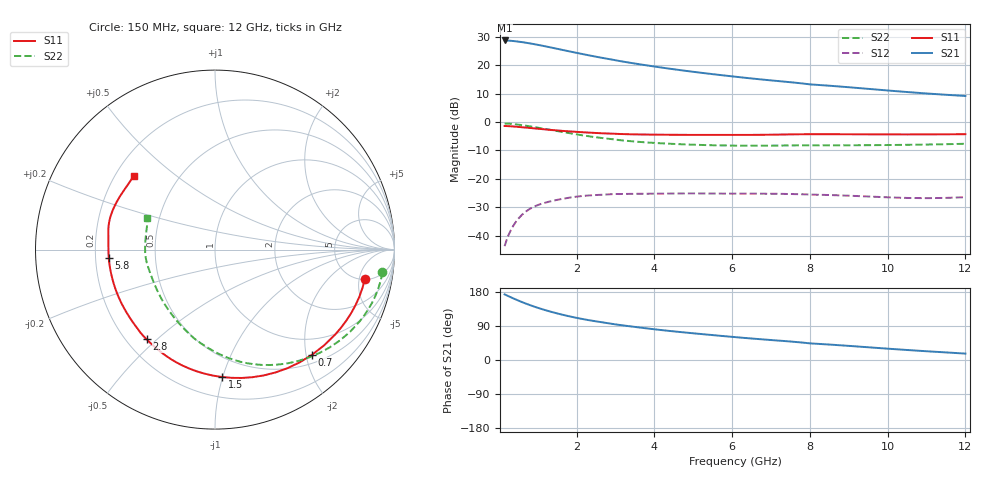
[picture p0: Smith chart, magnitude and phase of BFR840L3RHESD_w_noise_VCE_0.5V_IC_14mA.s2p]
! Infineon Technologies  Discrete & RF Semiconductors
! BFR840L3RHESD
! VCE =  0.5 V,  IC =  14 mA
! Common Emitter S-Parameters:  Jun 2012
# GHz  S  MA  R  50
!  f  S11  S21  S12  S22
! GHz  MAG  ANG  MAG  ANG  MAG  ANG  MAG  ANG
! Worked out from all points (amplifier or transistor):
!   91 points, 150 MHz to 12 GHz, reference 50 ohm
!   highest |S21| = 28.6 dB at 150 MHz (marker M1)
!   |S21| within 3 dB of that: start of sweep to 1.526 GHz
!   unconditionally stable (mu >= 1): 7.445 GHz to end of sweep
!   at 1.3 GHz: K = 0.16, MSG = 27.1 dB, |S12| = -28.0 dB
!   at 4.3 GHz: K = 0.55, MSG = 22.0 dB, |S12| = -25.1 dB
!   at 12 GHz: K = 2.02, MAG = 12.0 dB, |S12| = -26.4 dB
!   lowest NFmin = 0.86 dB at 450 MHz
!   S11 on the Smith chart (normalised r, x): 150 MHz: 5.11, -6.05; 700 MHz: 0.66, -2.11; 1.5 GHz: 0.35, -1.00; 2.8 GHz: 0.28, -0.46; 5.8 GHz: 0.26, -0.04; 12 GHz: 0.28, +0.36
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0.15  0.8506 -11.1  27.05 173.2  0.0066 83.1  0.9416 -7.7
0.25  0.846 -18.1  26.87 168.4  0.0103 78.7  0.9355 -13.3
0.4  0.8318 -28.4  26.31 161.4  0.0161 71.4  0.9166 -21.3
0.6  0.8088 -41.3  25.26 152.7  0.0236 64.5  0.881 -31.3
0.7  0.7972 -47.3  24.66 148.7  0.0269 61.9  0.8607 -36.0
0.9  0.7742 -58.6  23.36 141.3  0.0325 57.3  0.8183 -44.8
1.1  0.7519 -68.8  22 134.6  0.0367 52.7  0.7753 -53.1
1.3  0.7306 -78.2  20.63 128.5  0.04 47.9  0.7335 -60.7
1.5  0.711 -86.8  19.31 123.0  0.0429 43.2  0.694 -67.8
1.8  0.6859 -98.5  17.49 115.6  0.0467 37.2  0.6399 -77.4
2.2  0.6584 -111.6  15.38 107.3  0.0506 32.0  0.5775 -88.6
2.5  0.6413 -119.9  14.02 102.0  0.0522 28.7  0.5395 -96.0
2.8  0.6285 -127.3  12.87 97.2  0.0535 24.8  0.5098 -102.8
3.4  0.6086 -140.5  10.91 88.6  0.0547 21.2  0.4602 -115.0
4.2  0.5984 -154.2  9.016 78.8  0.0553 17.2  0.4219 -128.8
5  0.5942 -165.6  7.617 70.5  0.0557 14.2  0.3995 -140.9
5.8  0.5937 -175.3  6.562 62.9  0.0553 11.7  0.3873 -151.6
6.1  0.5936 -178.5  6.226 60.2  0.0553 11.0  0.3851 -155.2
8  0.6108 162.5  4.583 43.9  0.0532 7.8  0.3893 -177.5
8.5  0.6106 158.8  4.339 40.8  0.0522 7.2  0.3897 178.5
10.5  0.6051 144.8  3.361 26.4  0.0464 10.9  0.3976 163.3
12  0.6113 137.6  2.864 16.9  0.0478 18.9  0.4148 155.2
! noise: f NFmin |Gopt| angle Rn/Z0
0.45  0.86  0.2  6  0.14
0.9  0.9  0.2  11  0.14
1.9  0.92  0.21  33  0.14
3.5  0.92  0.22  57  0.13
4  0.94  0.22  64  0.13
5.5  0.96  0.24  80  0.12
7  1.01  0.25  99  0.12
8  1.07  0.25  111  0.11
10  1.16  0.24  129  0.11
12  1.28  0.24  167  0.11
